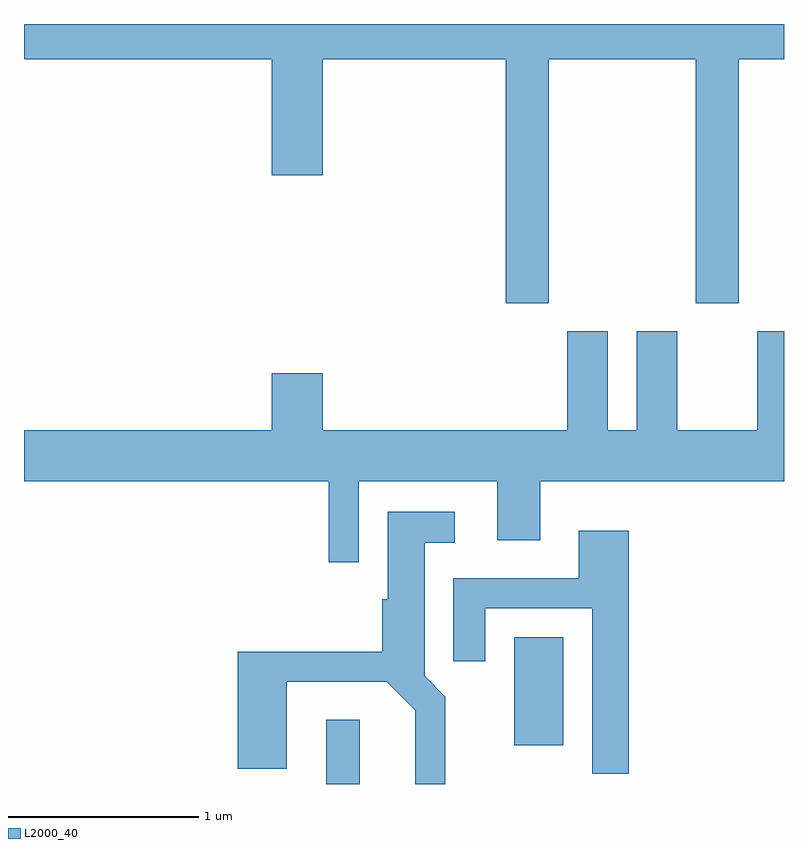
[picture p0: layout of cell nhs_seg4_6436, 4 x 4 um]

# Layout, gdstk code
import gdstk
lib = gdstk.Library(unit=1e-6, precision=1e-09)
def R(c, l, rs):  # rectangles x0, y0, x1, y1
    for r in rs: c.add(gdstk.rectangle(r[:2], r[2:], *l))
def P(c, l, *ps):  # polygons
    for p in ps: c.add(gdstk.Polygon(p, *l))
L2000_40 = (2000, 40)

nhs_seg4_6436 = lib.new_cell('nhs_seg4_6436')
R(nhs_seg4_6436, L2000_40, [(375.201,1341.982,375.379,1342.319), (376.191,1342.186,376.449,1342.754)])
P(nhs_seg4_6436, L2000_40, [(376.374,1345.796),(377.146,1345.796),(377.146,1344.511),(377.374,1344.511),(377.374,1345.796),(377.611,1345.796),(377.611,1345.982),(373.611,1345.982),(373.611,1345.796),(374.916,1345.796),(374.916,1345.186),(375.184,1345.186),(375.184,1345.796),(376.146,1345.796),(376.146,1344.511),(376.374,1344.511)],
  [(375.374,1343.576),(376.101,1343.576),(376.101,1343.266),(376.329,1343.266),(376.329,1343.576),(377.611,1343.576),(377.611,1344.364),(377.471,1344.364),(377.471,1343.844),(377.049,1343.844),(377.049,1344.364),(376.836,1344.364),(376.836,1343.844),(376.684,1343.844),(376.684,1344.364),(376.471,1344.364),(376.471,1343.844),(375.184,1343.844),(375.184,1344.144),(374.916,1344.144),(374.916,1343.844),(373.611,1343.844),(373.611,1343.576),(375.216,1343.576),(375.216,1343.148),(375.374,1343.148)],
  [(375.829,1342.442),(375.719,1342.552),(375.719,1343.251),(375.878,1343.251),(375.878,1343.414),(375.526,1343.414),(375.526,1342.954),(375.496,1342.954),(375.496,1342.679),(374.736,1342.679),(374.736,1342.061),(374.994,1342.061),(374.994,1342.521),(375.519,1342.521),(375.671,1342.369),(375.671,1341.982),(375.829,1341.982)],
  [(376.794,1343.314),(376.531,1343.314),(376.531,1343.064),(375.871,1343.064),(375.871,1342.628),(376.039,1342.628),(376.039,1342.906),(376.601,1342.906),(376.601,1342.036),(376.794,1342.036)])

lib.write_gds('nhs_seg4_6436.gds')
